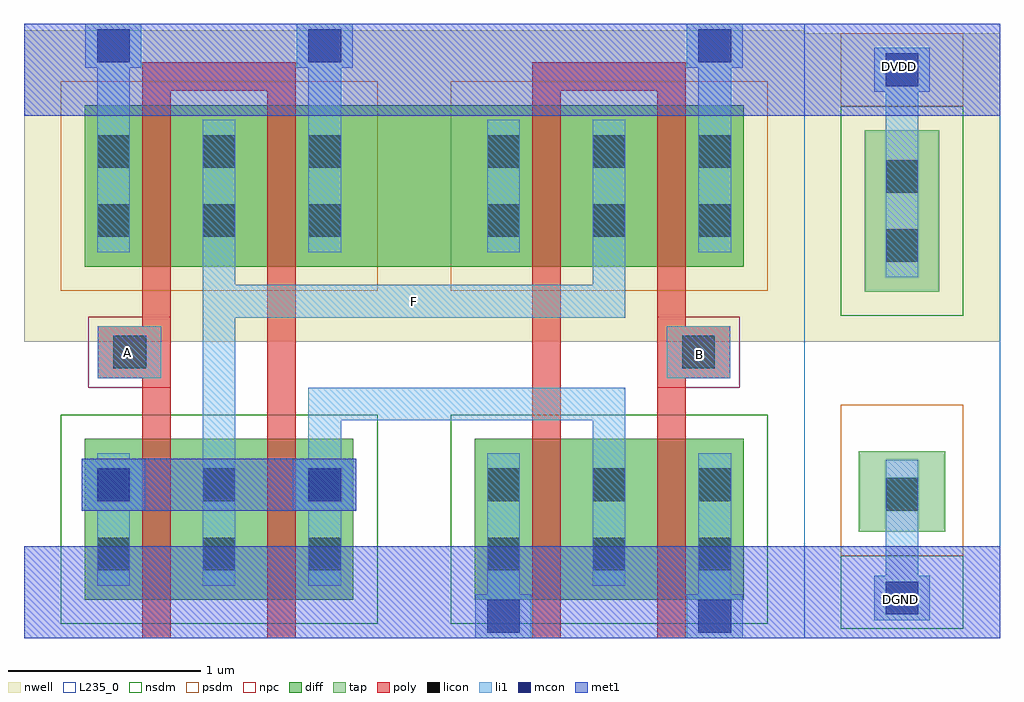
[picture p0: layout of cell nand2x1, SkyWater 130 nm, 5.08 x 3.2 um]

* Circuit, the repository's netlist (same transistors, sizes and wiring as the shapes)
* NGSPICE file created from nand2x1.ext - technology: sky130A

.subckt nand2x1 DGND DVDD B A F
X0 F A a_n694_n141# DGND sky130_fd_pr__nfet_01v8 ad=0.21 pd=1.34 as=0.252 ps=2.28 w=0.84 l=0.15
X1 a_n694_n141# A F DGND sky130_fd_pr__nfet_01v8 ad=0.252 pd=2.28 as=0.21 ps=1.34 w=0.84 l=0.15
X2 F A DVDD DVDD sky130_fd_pr__pfet_01v8 ad=0.21 pd=1.34 as=0.252 ps=2.28 w=0.84 l=0.15
X3 DVDD A F DVDD sky130_fd_pr__pfet_01v8 ad=0.5166 pd=2.07 as=0.21 ps=1.34 w=0.84 l=0.15
X4 a_n694_n141# B DGND DGND sky130_fd_pr__nfet_01v8 ad=0.21 pd=1.34 as=0.252 ps=2.28 w=0.84 l=0.15
X5 F B DVDD DVDD sky130_fd_pr__pfet_01v8 ad=0.21 pd=1.34 as=0.5166 ps=2.07 w=0.84 l=0.15
X6 DGND B a_n694_n141# DGND sky130_fd_pr__nfet_01v8 ad=0.252 pd=2.28 as=0.21 ps=1.34 w=0.84 l=0.15
X7 DVDD B F DVDD sky130_fd_pr__pfet_01v8 ad=0.252 pd=2.28 as=0.21 ps=1.34 w=0.84 l=0.15
.ends

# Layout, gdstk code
import gdstk
lib = gdstk.Library(unit=1e-6, precision=1e-09)
def R(c, l, rs):  # rectangles x0, y0, x1, y1
    for r in rs: c.add(gdstk.rectangle(r[:2], r[2:], *l))
def A(c, l, x, y, w, h, nx, ny, dx, dy):  # array of equal rectangles
    R(c, l, [(x+i*dx, y+j*dy, x+i*dx+w, y+j*dy+h) for i in range(nx) for j in range(ny)])
nwell = (64, 20)
diff = (65, 20)
tap = (65, 44)
poly = (66, 20)
licon = (66, 44)
li1 = (67, 20)
mcon = (67, 44)
met1 = (68, 20)
nsdm = (93, 44)
psdm = (94, 20)
npc = (95, 20)
L235_0 = (235, 0)

vias_gen = lib.new_cell('vias_gen')
R(vias_gen, li1, [(0,0,0.29,0.23)])
R(vias_gen, mcon, [(0.06,0.03,0.23,0.2)])
R(vias_gen, met1, [(0,0,0.29,0.23)])

tap_ = lib.new_cell('tap')
R(tap_, nwell, [(-1.455,0.92,-0.435,2.525)])
R(tap_, tap, [(-1.17,-0.07,-0.72,0.35), (-1.14,1.18,-0.75,2.02)])
R(tap_, licon, [(-1.03,0.04,-0.86,0.21), (-1.03,1.335,-0.86,1.505), (-1.03,1.695,-0.86,1.865)])
R(tap_, li1, [(-1.03,-0.3,-0.86,-0.025), (-1.03,-0.025,-0.86,0.305), (-1.03,1.255,-0.86,1.945), (-1.03,1.945,-0.86,2.25)])
R(tap_, met1, [(-1.455,-0.625,-0.435,-0.145), (-1.455,2.095,-0.435,2.575)])
R(tap_, nsdm, [(-1.265,-0.575,-0.625,-0.195), (-1.265,1.055,-0.625,2.145)])
R(tap_, psdm, [(-1.265,-0.195,-0.625,0.59), (-1.265,2.145,-0.625,2.525)])
R(tap_, L235_0, [(-1.455,-0.625,-0.435,2.575)])
tap_.add(gdstk.Reference(vias_gen, (-1.09,-0.53)))
tap_.add(gdstk.Reference(vias_gen, (-1.09,2.22)))

pfet = lib.new_cell('pfet')
R(pfet, nwell, [(-0.315,-0.39,1.715,1.23)])
R(pfet, diff, [(0,0,1.4,0.84)])
R(pfet, poly, [(0.3,-0.2,0.45,1.04), (0.95,-0.2,1.1,1.04)])
A(pfet, licon, 0.065, 0.155, 0.17, 0.17, 3, 2, 0.55, 0.36)
A(pfet, li1, 0.065, 0.075, 0.17, 0.69, 3, 1, 0.55, 0)
R(pfet, psdm, [(-0.125,-0.125,1.525,0.965)])

nfet = lib.new_cell('nfet')
R(nfet, diff, [(0,0,1.4,0.84)])
R(nfet, poly, [(0.3,-0.2,0.45,1.04), (0.95,-0.2,1.1,1.04)])
A(nfet, licon, 0.065, 0.155, 0.17, 0.17, 3, 2, 0.55, 0.36)
A(nfet, li1, 0.065, 0.075, 0.17, 0.69, 3, 1, 0.55, 0)
R(nfet, nsdm, [(-0.125,-0.125,1.525,0.965)])

vias_gen_1 = lib.new_cell('vias_gen$1')
R(vias_gen_1, li1, [(0,0,0.29,0.23)])
R(vias_gen_1, mcon, [(0.06,0.03,0.23,0.2)])
R(vias_gen_1, met1, [(0,0,0.29,0.23)])

vias_gen_3 = lib.new_cell('vias_gen$3')
R(vias_gen_3, poly, [(0,0,0.33,0.27)])
R(vias_gen_3, licon, [(0.08,0.05,0.25,0.22)])
R(vias_gen_3, li1, [(0,0,0.33,0.27)])
R(vias_gen_3, npc, [(-0.05,-0.05,0.38,0.32)])

vias_gen_4 = lib.new_cell('vias_gen$4')
R(vias_gen_4, li1, [(0,0,0.33,0.27)])
R(vias_gen_4, mcon, [(0.08,0.05,0.25,0.22)])
R(vias_gen_4, met1, [(0,0,0.33,0.27)])

nand2x1 = lib.new_cell('nand2x1')
R(nand2x1, diff, [(-2.07,1.03,-1.44,1.87)])
R(nand2x1, poly, [(-3.17,0.335,-3.02,0.83), (-2.52,0.335,-2.37,0.83), (-1.14,0.335,-0.99,0.83), (-0.49,0.335,-0.34,0.83), (-3.02,1.945,-2.52,2.095), (-0.99,1.945,-0.49,2.095), (-3.17,2.07,-3.02,2.095), (-2.52,2.07,-2.37,2.095), (-1.14,2.07,-0.99,2.095), (-0.49,2.07,-0.34,2.095)])
R(nand2x1, li1, [(-1.375,-0.905,-1.205,-0.63), (-0.275,-0.905,-0.105,-0.63), (-2.855,0.06,-2.685,1.105), (-2.305,0.06,-2.135,0.4), (-0.825,0.06,-0.655,0.4), (-2.135,0.23,-0.825,0.4), (-2.685,0.765,-0.655,0.935), (-0.825,0.935,-0.655,1.105), (-3.405,1.795,-3.235,2.295), (-2.305,1.795,-2.135,2.295), (-0.275,1.795,-0.105,2.295)])
R(nand2x1, met1, [(-3.785,-0.905,0.275,-0.425), (-3.155,-0.24,-2.385,0.03), (-3.785,1.815,0.275,2.295)])
nand2x1.add(gdstk.Reference(tap_, (1.73,-0.28)))
nand2x1.add(gdstk.Reference(pfet, (-1.44,1.03)))
nand2x1.add(gdstk.Reference(pfet, (-3.47,1.03)))
nand2x1.add(gdstk.Reference(nfet, (-1.44,-0.705)))
nand2x1.add(gdstk.Reference(nfet, (-3.47,-0.705)))
nand2x1.add(gdstk.Reference(vias_gen_1, (-0.335,-0.905)))
nand2x1.add(gdstk.Reference(vias_gen_1, (-3.465,2.065)))
nand2x1.add(gdstk.Reference(vias_gen_1, (-2.365,2.065)))
nand2x1.add(gdstk.Reference(vias_gen_1, (-0.335,2.065)))
nand2x1.add(gdstk.Reference(vias_gen_1, (-1.435,-0.905)))
nand2x1.add(gdstk.Reference(vias_gen_3, (-0.44,0.45)))
nand2x1.add(gdstk.Reference(vias_gen_4, (-3.485,-0.24)))
nand2x1.add(gdstk.Reference(vias_gen_4, (-2.385,-0.24)))
nand2x1.add(gdstk.Reference(vias_gen_3, (-3.4,0.45)))
nand2x1.add(gdstk.Label('DGND', (0.775,-0.7), layer=68, texttype=5))
nand2x1.add(gdstk.Label('DVDD', (0.77,2.07), layer=68, texttype=5))
nand2x1.add(gdstk.Label('B', (-0.27,0.575), layer=67, texttype=5))
nand2x1.add(gdstk.Label('A', (-3.245,0.585), layer=67, texttype=5))
nand2x1.add(gdstk.Label('F', (-1.755,0.85), layer=67, texttype=5))

lib.write_gds('nand2x1.gds')
